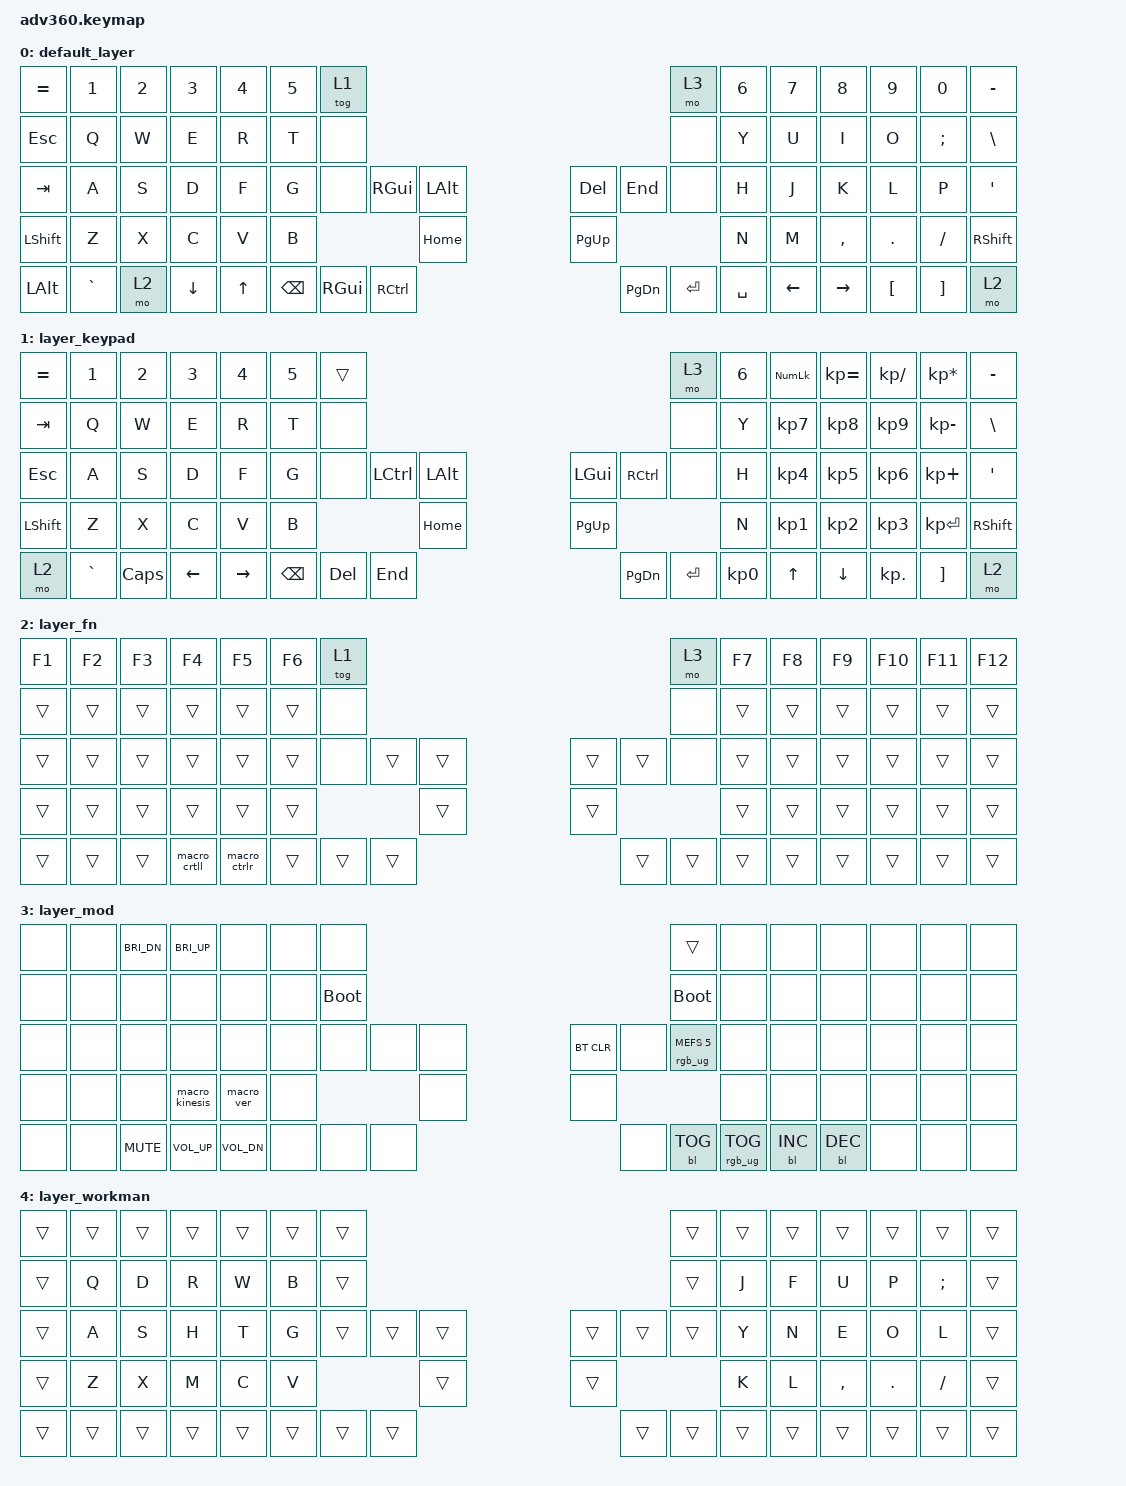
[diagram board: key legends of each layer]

/*
 * Copyright (c) 2020 The ZMK Contributors
 *
 * SPDX-License-Identifier: MIT
 */


/* THIS FILE WAS GENERATED!
 *
 * This file was generated automatically. You may or may not want to
 * edit it directly.
 */

#include <behaviors.dtsi>
#include <dt-bindings/zmk/keys.h>
#include <dt-bindings/zmk/bt.h>
#include <dt-bindings/zmk/rgb.h>
#include <dt-bindings/zmk/backlight.h>

/ {
  behaviors {
    #include "macros.dtsi"
    #include "version.dtsi"

    hm: homerow_mods {
        compatible = "zmk,behavior-hold-tap";
        label = "HOMEROW_MODS";
        #binding-cells = <2>;
        tapping-term-ms = <200>;
        quick_tap_ms = <175>;
        flavor = "tap-preferred";
        bindings = <&kp>, <&kp>;
    };
  };

    keymap {
        compatible = "zmk,keymap";


        default_layer {
            bindings = <
    &kp EQUAL     &kp N1  &kp N2    &kp N3  &kp N4  &kp N5                   &tog 1                                                                       &mo 3  &kp N6    &kp N7     &kp N8    &kp N9    &kp N0  &kp MINUS
   &kp ESCAPE      &kp Q   &kp W     &kp E   &kp R   &kp T                    &none                                                                       &none   &kp Y     &kp U      &kp I     &kp O  &kp SEMI   &kp BSLH
      &kp TAB      &kp A   &kp S     &kp D   &kp F   &kp G                    &none  &kp RIGHT_GUI   &kp LALT                  &kp DELETE    &kp END      &none   &kp H     &kp J      &kp K     &kp L     &kp P    &kp SQT
    &kp LSHFT      &kp Z   &kp X     &kp C   &kp V   &kp B                                           &kp HOME                   &kp PG_UP                         &kp N     &kp M  &kp COMMA   &kp DOT  &kp FSLH  &kp RSHFT
 &kp LEFT_ALT  &kp GRAVE   &mo 2  &kp DOWN  &kp UP                    &kp BACKSPACE  &kp RIGHT_GUI  &kp RCTRL                   &kp PG_DN  &kp ENTER  &kp SPACE          &kp LEFT  &kp RIGHT  &kp LBKT  &kp RBKT      &mo 2
            >;
        };

        layer_keypad {
            bindings = <
 &kp EQUAL     &kp N1    &kp N2    &kp N3     &kp N4  &kp N5              &trans                                                                 &mo 3  &kp N6  &kp KP_NUM  &kp KP_EQUAL  &kp KP_DIVIDE  &kp KP_MULTIPLY  &kp MINUS
   &kp TAB      &kp Q     &kp W     &kp E      &kp R   &kp T               &none                                                                 &none   &kp Y   &kp KP_N7     &kp KP_N8      &kp KP_N9     &kp KP_MINUS   &kp BSLH
   &kp ESC      &kp A     &kp S     &kp D      &kp F   &kp G               &none  &kp LCTRL  &kp LALT                   &kp LGUI  &kp RCTRL      &none   &kp H   &kp KP_N4     &kp KP_N5      &kp KP_N6      &kp KP_PLUS    &kp SQT
 &kp LSHFT      &kp Z     &kp X     &kp C      &kp V   &kp B                                 &kp HOME                  &kp PG_UP                         &kp N   &kp KP_N1     &kp KP_N2      &kp KP_N3     &kp KP_ENTER  &kp RSHFT
     &mo 2  &kp GRAVE  &kp CAPS  &kp LEFT  &kp RIGHT                    &kp BSPC    &kp DEL   &kp END                  &kp PG_DN  &kp ENTER  &kp KP_N0              &kp UP      &kp DOWN     &kp KP_DOT         &kp RBKT      &mo 2
            >;
        };

        layer_fn {
            bindings = <
 &kp F1  &kp F2  &kp F3        &kp F4        &kp F5  &kp F6            &tog 1                                                   &mo 3  &kp F7  &kp F8  &kp F9  &kp F10  &kp F11  &kp F12
 &trans  &trans  &trans        &trans        &trans  &trans             &none                                                   &none  &trans  &trans  &trans   &trans   &trans   &trans
 &trans  &trans  &trans        &trans        &trans  &trans             &none  &trans  &trans                  &trans  &trans   &none  &trans  &trans  &trans   &trans   &trans   &trans
 &trans  &trans  &trans        &trans        &trans  &trans                            &trans                  &trans                  &trans  &trans  &trans   &trans   &trans   &trans
 &trans  &trans  &trans  &macro_crtll  &macro_ctrlr                    &trans  &trans  &trans                  &trans  &trans  &trans          &trans  &trans   &trans   &trans   &trans
            >;
        };

        layer_mod {
            bindings = <
  &none   &none  &kp C_BRI_DN    &kp C_BRI_UP         &none   &none                  &none                                                                          &trans   &none       &none       &none   &none   &none   &none
  &none   &none         &none           &none         &none   &none            &bootloader                                                                     &bootloader   &none       &none       &none   &none   &none   &none
  &none   &none         &none           &none         &none   &none                  &none   &none   &none                  &bt BT_CLR       &none  &rgb_ug RGB_MEFS_CMD 5   &none       &none       &none   &none   &none   &none
  &none   &none         &none  &macro_kinesis    &macro_ver   &none                                  &none                       &none                                       &none       &none       &none   &none   &none   &none
  &none   &none    &kp C_MUTE    &kp C_VOL_UP  &kp C_VOL_DN                          &none   &none   &none                       &none  &bl BL_TOG         &rgb_ug RGB_TOG          &bl BL_INC  &bl BL_DEC   &none   &none   &none
            >;
        };

        layer_workman {
            bindings = <
 &trans  &trans  &trans  &trans  &trans  &trans            &trans                                                  &trans  &trans  &trans     &trans      &trans         &trans  &trans
 &trans   &kp Q   &kp D   &kp R   &kp W   &kp B            &trans                                                  &trans   &kp J   &kp F      &kp U       &kp P  &kp SEMICOLON  &trans
 &trans   &kp A   &kp S   &kp H   &kp T   &kp G            &trans  &trans  &trans                  &trans  &trans  &trans   &kp Y   &kp N      &kp E       &kp O          &kp L  &trans
 &trans   &kp Z   &kp X   &kp M   &kp C   &kp V                            &trans                  &trans                   &kp K   &kp L  &kp COMMA  &kp PERIOD      &kp SLASH  &trans
 &trans  &trans  &trans  &trans  &trans                    &trans  &trans  &trans                  &trans  &trans  &trans          &trans     &trans      &trans         &trans  &trans
            >;
        };

    };
};
